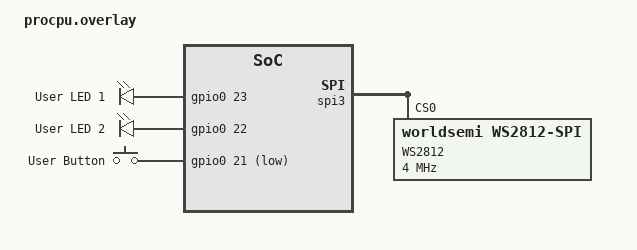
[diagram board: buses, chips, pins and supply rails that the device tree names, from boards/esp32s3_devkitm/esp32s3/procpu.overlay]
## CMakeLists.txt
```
# SPDX-License-Identifier: Apache-2.0

cmake_minimum_required(VERSION 3.20.0)


# Add device tree overlay
if(EXISTS ${CMAKE_CURRENT_SOURCE_DIR}/boards/${BOARD}.overlay)
    set(DTC_OVERLAY_FILE ${CMAKE_CURRENT_SOURCE_DIR}/boards/${BOARD}.overlay)
endif()

# Find Zephyr package and initialize
find_package(Zephyr REQUIRED HINTS $ENV{ZEPHYR_BASE})

# Project definition
project(keyasoftbox VERSION 1.0.0)

# Source files
target_sources(app PRIVATE 
    src/led_control.c
    src/main.c
    src/mesh_network.c
    src/nvs_storage.c
    src/state_machine.c
    src/web_config.c
    ws2812/ws2812_driver.c
)

# Include directories
target_include_directories(app PRIVATE 
    include
    ${CMAKE_CURRENT_SOURCE_DIR}/src
    ${CMAKE_CURRENT_SOURCE_DIR}/ws2812
)

message(STATUS "DTS_ROOT is set to: ${DTS_ROOT}")
message(STATUS "Current source dir: ${CMAKE_CURRENT_SOURCE_DIR}")

# Compiler definitions
target_compile_definitions(app PRIVATE
    -DKEYASOFTBOX_VERSION_MAJOR=1
    -DKEYASOFTBOX_VERSION_MINOR=0
    -DKEYASOFTBOX_VERSION_PATCH=0
)

# Compiler options for optimization
if(CMAKE_BUILD_TYPE STREQUAL "Release")
    target_compile_options(app PRIVATE
        -Os  # Optimize for size
        -ffunction-sections
        -fdata-sections
    )
    
    target_link_options(app PRIVATE
        -Wl,--gc-sections
    )
endif()

# Add custom build timestamp
string(TIMESTAMP BUILD_TIMESTAMP "%Y-%m-%d %H:%M:%S UTC" UTC)
target_compile_definitions(app PRIVATE
    -DBUILD_TIMESTAMP="${BUILD_TIMESTAMP}"
)

# Generate version header if template exists
if(EXISTS ${CMAKE_CURRENT_SOURCE_DIR}/include/version.h.in)
    configure_file(
        ${CMAKE_CURRENT_SOURCE_DIR}/include/version.h.in
        ${CMAKE_CURRENT_BINARY_DIR}/include/version.h
        @ONLY
    )
    target_include_directories(app PRIVATE ${CMAKE_CURRENT_BINARY_DIR}/include)
endif()
```

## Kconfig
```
menu "KSB Configuration"

source "Kconfig.zephyr"

endmenu


# Kconfig configuration for custom WS2812B driver
config WS2812B_STRIP
    bool "Custom WS2812B LED Strip Driver"
    depends on LED_STRIP && SPI
    help
      Enable custom WS2812B LED strip driver with SPI backend.
      This driver provides better control and flexibility compared
      to the generic worldsemi driver.

config WS2812B_STRIP_INIT_PRIORITY
    int "WS2812B driver initialization priority"
    default 90
    help
      Initialization priority for WS2812B LED strip driver.
      Must be higher than SPI driver priority.

config WS2812B_MAX_PIXELS
    int "Maximum number of pixels per strip"
    default 256
    range 1 1024
    help
      Maximum number of pixels that can be controlled by a single
      WS2812B strip instance. This affects memory allocation.

config WS2812B_SPI_FREQUENCY
    int "Default SPI frequency for WS2812B timing"
    default 4000000
    range 1000000 10000000
    help
      Default SPI frequency in Hz for WS2812B timing generation.
      4MHz typically works well for most WS2812B strips.

config WS2812B_RESET_DELAY
    int "Default reset delay in microseconds"
    default 50
    range 10 1000
    help
      Default reset delay in microseconds between LED updates.
# WS2812B_STRIP
```

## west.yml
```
# west.yml - West workspace manifest
manifest: 
  projects:
    # Zephyr RTOS
    - name: zephyr
      url: https://github.com/zephyrproject-rtos/zephyr
      revision: v4.2-branch
      west-commands: scripts/west-commands.yml
      import: true
      
  self:
    path: keya-soft-box
```

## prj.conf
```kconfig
CONFIG_WS2812B_STRIP=y
CONFIG_WS2812B_STRIP_INIT_PRIORITY=90
CONFIG_WS2812B_MAX_PIXELS=256
CONFIG_WS2812B_SPI_FREQUENCY=4000000
CONFIG_WS2812B_RESET_DELAY=50
CONFIG_SPI=y
CONFIG_GPIO=y
CONFIG_LOG=y
CONFIG_LOG_DEFAULT_LEVEL=3
CONFIG_LOG_BACKEND_UART=y
CONFIG_CBPRINTF_NANO=y
CONFIG_MAIN_STACK_SIZE=2048
CONFIG_SYSTEM_WORKQUEUE_STACK_SIZE=2048
CONFIG_HEAP_MEM_POOL_SIZE=45056
CONFIG_BOOTLOADER_MCUBOOT=y
CONFIG_NVS=y
CONFIG_LED_STRIP=y
CONFIG_LED_STRIP_LOG_LEVEL_DBG=y
CONFIG_LOG_MODE_IMMEDIATE=y
CONFIG_ESP32_SPIM=y
CONFIG_FLASH=y
CONFIG_FLASH_MAP=y
CONFIG_SETTINGS=y
CONFIG_SETTINGS_NVS=y
CONFIG_FLASH_PAGE_LAYOUT=y
CONFIG_POSIX_API=y

# Networking
CONFIG_NETWORKING=y
CONFIG_WIFI=y
CONFIG_NET_MGMT=y
CONFIG_NET_MGMT_EVENT=y
CONFIG_NET_IPV4=y
CONFIG_NET_UDP=y
CONFIG_NET_TCP=y
CONFIG_NET_SOCKETS=y

# Random
CONFIG_ENTROPY_GENERATOR=y
CONFIG_TIMER_RANDOM_GENERATOR=y
CONFIG_TEST_RANDOM_GENERATOR=y
```

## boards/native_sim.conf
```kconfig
CONFIG_UART_NATIVE_POSIX_PORT_1_ENABLE=y
CONFIG_NATIVE_UART_0_ON_STDINOUT=y
CONFIG_UART_NATIVE_POSIX=y
CONFIG_FLASH_SIMULATOR=y
CONFIG_ENTROPY_GENERATOR=y
CONFIG_TEST_RANDOM_GENERATOR=y
```

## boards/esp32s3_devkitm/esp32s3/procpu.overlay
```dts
#include <zephyr/dt-bindings/led/led.h>
#include <zephyr/dt-bindings/gpio/gpio.h>

/ {
    chosen {
        zephyr,console = &uart0;
        zephyr,shell-uart = &uart0;
    };

    aliases {
        ledstrip = &led_strip;
        sw0 = &button0;
        led0 = &user_led1;
        led1 = &user_led2;
    };

    leds {
        compatible = "gpio-leds";
        status = "okay";
        
        user_led1: led_0 {
            gpios = <&gpio0 23 GPIO_ACTIVE_HIGH>;
            label = "User LED 1";
        };
        
        user_led2: led_1 {
            gpios = <&gpio0 22 GPIO_ACTIVE_HIGH>;
            label = "User LED 2";
        };
    };

    buttons {
        compatible = "gpio-keys";
        status = "okay";
        
        button0: button_0 {
            gpios = <&gpio0 21 (GPIO_PULL_UP | GPIO_ACTIVE_LOW)>;
            label = "User Button";
        };
    };
};

&pinctrl {
    spi3_default: spi3_default {
        group1 {
            pinmux = <19>;
        };
    };
    
    spi3_sleep: spi3_sleep {
        group1 {
            pinmux = <19>;
            input-enable;
            bias-pull-up;
        };
    };
};

&spi3 {
    status = "okay";
    
    pinctrl-0 = <&spi3_default>;
    pinctrl-1 = <&spi3_sleep>;
    pinctrl-names = "default", "sleep";

    led_strip: ws2812@0 {
        compatible = "worldsemi,ws2812-spi";
        label = "WS2812";
        reg = <0>;
        spi-max-frequency = <4000000>;

        spi-one-frame = <0x70>;
        spi-zero-frame = <0x40>;
        
        chain-length = <8>;
        color-mapping = <LED_COLOR_ID_GREEN LED_COLOR_ID_RED LED_COLOR_ID_BLUE>;
        reset-delay = <280>;
    };
};

/* Delete existing storage partition if it exists */
/delete-node/ &storage_partition;

/* Modify the existing flash partitions to add our storage partition */
&flash0 {
    partitions {
        /* Add storage partition at the end of flash */
        storage_partition: partition@3F0000 {
            label = "storage";
            reg = <0x003F0000 0x6000>;  /* 24KB for NVS at near end of 4MB flash */
        };
    };
};
```

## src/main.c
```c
#include <zephyr/kernel.h>
#include <zephyr/device.h>
#include <zephyr/drivers/gpio.h>
#include <zephyr/logging/log.h>
#include <zephyr/random/random.h>

#include "ksb_common.h"
#include "state_machine.h"
#include "nvs_storage.h"
#include "../ws2812/ws2812_driver.h"

LOG_MODULE_REGISTER(main, CONFIG_LOG_DEFAULT_LEVEL);

// Global system context
struct ksb_context g_ksb_ctx = {
    .current_state = KSB_STATE_SYSTEM_INIT,
    .system_running = true};

// Hardware devices
static const struct device *button_dev;
static const struct device *status_red_dev;
static const struct device *status_green_dev;
static const struct device *gpio_dev;
static struct gpio_callback button_cb_data;

// Button handler
static void button_pressed(const struct device *dev, struct gpio_callback *cb, uint32_t pins)
{
    LOG_INF("User button pressed");
    // Cycle through LED patterns in operational mode
    if (g_ksb_ctx.current_state == KSB_STATE_OPERATIONAL)
    {
        led_control_next_pattern();
    }
}

// Status LED control
static void set_status_leds(bool red, bool green)
{
    if (gpio_dev)
    {
        gpio_pin_set(gpio_dev, 23, red ? 1 : 0);   // user_led1
        gpio_pin_set(gpio_dev, 22, green ? 1 : 0); // user_led2
    }
}

// Status LED thread
static void status_led_thread(void)
{
    while (g_ksb_ctx.system_running)
    {
        switch (g_ksb_ctx.current_state)
        {
        case KSB_STATE_SYSTEM_INIT:
            // Fast red blink during init
            set_status_leds(true, false);
            k_msleep(100);
            set_status_leds(false, false);
            k_msleep(100);
            break;

        case KSB_STATE_CONFIG_MODE:
            // Alternating red/green in config mode
            set_status_leds(true, false);
            k_msleep(500);
            set_status_leds(false, true);
            k_msleep(500);
            break;

        case KSB_STATE_NETWORK_SCAN:
        case KSB_STATE_MESH_CLIENT:
        case KSB_STATE_MESH_MASTER:
            // Slow green blink during connection
            set_status_leds(false, true);
            k_msleep(250);
            set_status_leds(false, false);
            k_msleep(1750);
            break;

        case KSB_STATE_OPERATIONAL:
            // Solid green when operational
            set_status_leds(false, true);
            k_msleep(1000);
            break;

        case KSB_STATE_CONNECTION_LOST:
        case KSB_STATE_ERROR_RECOVERY:
            // Fast red blink on error
            set_status_leds(true, false);
            k_msleep(200);
            set_status_leds(false, false);
            k_msleep(200);
            break;

        default:
            set_status_leds(false, false);
            k_msleep(1000);
            break;
        }
    }
}

K_THREAD_DEFINE(status_led_tid, 1024, status_led_thread, NULL, NULL, NULL, 7, 0, 0);

// Hardware initialization
static int init_hardware(void)
{
    int ret;

    // Get GPIO device for button and LEDs
    gpio_dev = DEVICE_DT_GET(DT_NODELABEL(gpio0));
    if (!device_is_ready(gpio_dev))
    {
        LOG_ERR("GPIO device not ready");
        return -ENODEV;
    }

    // Configure button pin
    ret = gpio_pin_configure(gpio_dev, 21, GPIO_INPUT | GPIO_PULL_UP);
    if (ret != 0)
    {
        LOG_ERR("Failed to configure button pin");
        return ret;
    }

    ret = gpio_pin_interrupt_configure(gpio_dev, 21, GPIO_INT_EDGE_TO_ACTIVE);
    if (ret != 0)
    {
        LOG_ERR("Failed to configure button interrupt");
        return ret;
    }

    gpio_init_callback(&button_cb_data, button_pressed, BIT(21));
    gpio_add_callback(gpio_dev, &button_cb_data);

    // Configure status LED pins
    ret = gpio_pin_configure(gpio_dev, 23, GPIO_OUTPUT_INACTIVE); // user_led1
    if (ret != 0)
    {
        LOG_ERR("Failed to configure red LED pin");
        return ret;
    }
    ret = gpio_pin_configure(gpio_dev, 22, GPIO_OUTPUT_INACTIVE); // user_led2
    if (ret != 0)
    {
        LOG_ERR("Failed to configure green LED pin");
        return ret;
    }

    LOG_INF("Hardware initialized successfully");
    return 0;
}

int main(void)
{
    int ret;

    LOG_INF("KSB v%s starting...", KSB_VERSION_STRING);
    LOG_INF("Build: %s %s", KSB_BUILD_DATE, KSB_BUILD_TIME);

    // Initialize semaphores
    k_sem_init(&g_ksb_ctx.state_lock, 1, 1);

    // Initialize NVS storage
    ret = nvs_storage_init();
    if (ret != 0)
    {
        LOG_ERR("Failed to initialize NVS storage: %d", ret);
        return ret;
    }

    // Load configuration
    ret = nvs_storage_load_config(&g_ksb_ctx.config);
    if (ret != 0)
    {
        LOG_WRN("No valid configuration found, using defaults");
        memset(&g_ksb_ctx.config, 0, sizeof(g_ksb_ctx.config));
        g_ksb_ctx.config.is_configured = false;
        g_ksb_ctx.config.device_id = sys_rand32_get() & 0xFF;
    }

    // Initialize hardware
    ret = init_hardware();
    if (ret != 0)
    {
        LOG_ERR("Hardware initialization failed: %d", ret);
        return ret;
    }

    // Initialize LED control
    ret = led_control_init();
    if (ret != 0)
    {
        LOG_ERR("LED control initialization failed: %d", ret);
        return ret;
    }

    // Show startup pattern
    struct led_rgb startup_color = {50, 0, 50}; // Purple
    led_control_set_pattern(KSB_PATTERN_SOLID, startup_color, 255, 0);
    k_msleep(1000);
    led_control_set_pattern(KSB_PATTERN_OFF, (struct led_rgb){0, 0, 0}, 0, 0);

    // Initialize state machine
    ret = state_machine_init();
    if (ret != 0)
    {
        LOG_ERR("State machine initialization failed: %d", ret);
        return ret;
    }

    LOG_INF("KSB initialization complete");

    // Start state machine
    state_machine_start();

    return 0;
}
```

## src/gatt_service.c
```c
#include <zephyr/kernel.h>
#include <zephyr/bluetooth/bluetooth.h>
#include <zephyr/bluetooth/gatt.h>
#include <zephyr/bluetooth/uuid.h>
#include <zephyr/logging/log.h>
#include <zephyr/sys/util.h>
#include <stdio.h>
#include <stdlib.h>
#include <string.h>
#include "keyasoftbox.h"

LOG_MODULE_REGISTER(gatt_service, LOG_LEVEL_INF);

/* External references */
extern struct keyasoftbox_state device_state;

/* Service and Characteristic UUIDs */
static struct bt_uuid_128 keyasoftbox_service_uuid = BT_UUID_INIT_128(KEYASOFTBOX_SERVICE_UUID);
static struct bt_uuid_128 led_control_char_uuid = BT_UUID_INIT_128(LED_CONTROL_CHAR_UUID);
static struct bt_uuid_128 led_status_char_uuid = BT_UUID_INIT_128(LED_STATUS_CHAR_UUID);
static struct bt_uuid_128 mesh_control_char_uuid = BT_UUID_INIT_128(MESH_CONTROL_CHAR_UUID);
static struct bt_uuid_128 device_info_char_uuid = BT_UUID_INIT_128(DEVICE_INFO_CHAR_UUID);

/* Notification enabled flags */
static bool led_status_notify_enabled = false;

/* JSON parsing helper functions */
static int find_json_value(const char *json, const char *key, char *value, size_t value_size)
{
    char search_key[64];
    snprintf(search_key, sizeof(search_key), "\"%s\":", key);
    
    const char *key_pos = strstr(json, search_key);
    if (!key_pos) {
        return -1;
    }
    
    const char *value_start = key_pos + strlen(search_key);
    
    /* Skip whitespace */
    while (*value_start == ' ' || *value_start == '\t') {
        value_start++;
    }
    
    /* Handle different value types */
    if (*value_start == '"') {
        /* String value */
        value_start++;
        const char *value_end = strchr(value_start, '"');
        if (!value_end) return -1;
        
        size_t len = MIN(value_end - value_start, value_size - 1);
        strncpy(value, value_start, len);
        value[len] = '\0';
    } else {
        /* Numeric or boolean value */
        const char *value_end = value_start;
        while (*value_end && *value_end != ',' && *value_end != '}' && *value_end != ' ') {
            value_end++;
        }
        
        size_t len = MIN(value_end - value_start, value_size - 1);
        strncpy(value, value_start, len);
        value[len] = '\0';
    }
    
    return 0;
}

static bool json_value_is_true(const char *value)
{
    return (strcmp(value, "true") == 0) || (strcmp(value, "1") == 0);
}

/* GATT Characteristic Read/Write Handlers */
static ssize_t read_device_info(struct bt_conn *conn, const struct bt_gatt_attr *attr,
                               void *buf, uint16_t len, uint16_t offset)
{
    char info[256];
    snprintf(info, sizeof(info),
             "{"
             "\"device\":\"KeyaSoftBox\","
             "\"version\":\"1.0.0\","
             "\"mesh_addr\":\"0x%04x\","
             "\"provisioned\":%s,"
             "\"pixels\":%d,"
             "\"effects\":%d"
             "}",
             device_state.mesh_addr,
             device_state.mesh_provisioned ? "true" : "false",
             NUM_PIXELS,
             EFFECT_MAX);
    
    return bt_gatt_attr_read(conn, attr, buf, len, offset, info, strlen(info));
}

static ssize_t read_led_status(struct bt_conn *conn, const struct bt_gatt_attr *attr,
                              void *buf, uint16_t len, uint16_t offset)
{
    char status[512];
    snprintf(status, sizeof(status),
             "{"
             "\"power\":%s,"
             "\"brightness\":%d,"
             "\"color\":{"
             "\"r\":%d,\"g\":%d,\"b\":%d"
             "},"
             "\"auto_mode\":%s,"
             "\"effect\":%d,"
             "\"speed\":%u,"
             "\"current_pixels\":["
             "{\"r\":%d,\"g\":%d,\"b\":%d},"
             "{\"r\":%d,\"g\":%d,\"b\":%d},"
             "{\"r\":%d,\"g\":%d,\"b\":%d},"
             "{\"r\":%d,\"g\":%d,\"b\":%d}"
             "]"
             "}",
             device_state.power_on ? "true" : "false",
             device_state.brightness,
             device_state.static_color.r, device_state.static_color.g, device_state.static_color.b,
             device_state.auto_mode ? "true" : "false",
             device_state.animation_type,
             device_state.animation_speed,
             /* First 4 pixels current state */
             device_state.pixels[0].r, device_state.pixels[0].g, device_state.pixels[0].b,
             device_state.pixels[1].r, device_state.pixels[1].g, device_state.pixels[1].b,
             device_state.pixels[2].r, device_state.pixels[2].g, device_state.pixels[2].b,
             device_state.pixels[3].r, device_state.pixels[3].g, device_state.pixels[3].b);
    
    return bt_gatt_attr_read(conn, attr, buf, len, offset, status, strlen(status));
}

static ssize_t write_led_control(struct bt_conn *conn, const struct bt_gatt_attr *attr,
                                const void *buf, uint16_t len, uint16_t offset,
                                uint8_t flags)
{
    if (len == 0 || len > 512) {
        return BT_GATT_ERR(BT_ATT_ERR_INVALID_ATTRIBUTE_LEN);
    }
    
    char json_cmd[513];
    memcpy(json_cmd, buf, len);
    json_cmd[len] = '\0';
    
    LOG_INF("LED Control command: %s", json_cmd);
    
    parse_led_control_json(json_cmd, len);
    
    return len;
}

static ssize_t write_mesh_control(struct bt_conn *conn, const struct bt_gatt_attr *attr,
                                 const void *buf, uint16_t len, uint16_t offset,
                                 uint8_t flags)
{
    if (len == 0 || len > 512) {
        return BT_GATT_ERR(BT_ATT_ERR_INVALID_ATTRIBUTE_LEN);
    }
    
    char json_cmd[513];
    memcpy(json_cmd, buf, len);
    json_cmd[len] = '\0';
    
    LOG_INF("Mesh Control command: %s", json_cmd);
    
    parse_mesh_control_json(json_cmd, len);
    
    return len;
}

/* CCC (Client Characteristic Configuration) callback for notifications */
static void led_status_ccc_cfg_changed(const struct bt_gatt_attr *attr, uint16_t value)
{
    led_status_notify_enabled = (value == BT_GATT_CCC_NOTIFY);
    LOG_INF("LED Status notifications %s", led_status_notify_enabled ? "enabled" : "disabled");
}

/* GATT Service Definition */
BT_GATT_SERVICE_DEFINE(keyasoftbox_svc,
    BT_GATT_PRIMARY_SERVICE(&keyasoftbox_service_uuid),
    
    /* LED Control Characteristic */
    BT_GATT_CHARACTERISTIC(&led_control_char_uuid.uuid,
                          BT_GATT_CHRC_WRITE | BT_GATT_CHRC_WRITE_WITHOUT_RESP,
                          BT_GATT_PERM_WRITE, NULL, write_led_control, NULL),
    
    /* LED Status Characteristic */
    BT_GATT_CHARACTERISTIC(&led_status_char_uuid.uuid,
                          BT_GATT_CHRC_READ | BT_GATT_CHRC_NOTIFY,
                          BT_GATT_PERM_READ, read_led_status, NULL, NULL),
    BT_GATT_CCC(led_status_ccc_cfg_changed, BT_GATT_PERM_READ | BT_GATT_PERM_WRITE),
    
    /* Mesh Control Characteristic */
    BT_GATT_CHARACTERISTIC(&mesh_control_char_uuid.uuid,
                          BT_GATT_CHRC_WRITE | BT_GATT_CHRC_WRITE_WITHOUT_RESP,
                          BT_GATT_PERM_WRITE, NULL, write_mesh_control, NULL),
    
    /* Device Info Characteristic */
    BT_GATT_CHARACTERISTIC(&device_info_char_uuid.uuid,
                          BT_GATT_CHRC_READ,
                          BT_GATT_PERM_READ, read_device_info, NULL, NULL),
);

/* JSON Command Parsing Functions */
void parse_led_control_json(const char *json_data, uint16_t len)
{
    char value[32];
    bool state_changed = false;
    
    /* Parse power */
    if (find_json_value(json_data, "power", value, sizeof(value)) == 0) {
        bool new_power = json_value_is_true(value);
        if (new_power != device_state.power_on) {
            device_state.power_on = new_power;
            state_changed = true;
        }
    }
    
    /* Parse brightness */
    if (find_json_value(json_data, "brightness", value, sizeof(value)) == 0) {
        uint8_t new_brightness = atoi(value);
        if (new_brightness != device_state.brightness) {
            device_state.brightness = new_brightness;
            state_changed = true;
        }
    }
    
    /* Parse color */
    bool color_changed = false;
    if (find_json_value(json_data, "r", value, sizeof(value)) == 0) {
        device_state.static_color.r = atoi(value);
        color_changed = true;
    }
    if (find_json_value(json_data, "g", value, sizeof(value)) == 0) {
        device_state.static_color.g = atoi(value);
        color_changed = true;
    }
    if (find_json_value(json_data, "b", value, sizeof(value)) == 0) {
        device_state.static_color.b = atoi(value);
        color_changed = true;
    }
    
    /* Parse auto mode */
    if (find_json_value(json_data, "auto_mode", value, sizeof(value)) == 0) {
        bool new_auto = json_value_is_true(value);
        if (new_auto != device_state.auto_mode) {
            device_state.auto_mode = new_auto;
            state_changed = true;
        }
    }
    
    /* Parse effect type */
    if (find_json_value(json_data, "effect", value, sizeof(value)) == 0) {
        uint8_t new_effect = atoi(value);
        if (new_effect < EFFECT_MAX && new_effect != device_state.animation_type) {
            device_state.animation_type = new_effect;
            state_changed = true;
        }
    }
    
    /* Parse speed */
    if (find_json_value(json_data, "speed", value, sizeof(value)) == 0) {
        uint32_t new_speed = atoi(value);
        if (new_speed != device_state.animation_speed) {
            device_state.animation_speed = new_speed;
            state_changed = true;
        }
    }
    
    /* Apply changes */
    if (color_changed || state_changed) {
        if (device_state.auto_mode) {
            /* Start animation */
            reset_animation_state();
            k_work_reschedule(&animation_work, K_MSEC(100));
        } else {
            /* Set static color */
            k_work_cancel_delayable(&animation_work);
            if (device_state.power_on) {
                set_all_pixels(device_state.static_color.r, 
                              device_state.static_color.g, 
                              device_state.static_color.b);
            } else {
                clear_all_pixels();
            }
            update_led_strip();
        }
        
        /* Notify status change */
        notify_led_status_change();
    }
}

void parse_mesh_control_json(const char *json_data, uint16_t len)
{
    char value[32];
    
    /* Parse the command and forward to mesh */
    bool send_mesh_cmd = false;
    uint8_t power = device_state.power_on ? 1 : 0;
    uint8_t brightness = device_state.brightness;
    uint8_t r = device_state.static_color.r;
    uint8_t g = device_state.static_color.g;
    uint8_t b = device_state.static_color.b;
    
    if (find_json_value(json_data, "power", value, sizeof(value)) == 0) {
        power = json_value_is_true(value) ? 1 : 0;
        send_mesh_cmd = true;
    }
    
    if (find_json_value(json_data, "brightness", value, sizeof(value)) == 0) {
        brightness = atoi(value);
        send_mesh_cmd = true;
    }
    
    if (find_json_value(json_data, "r", value, sizeof(value)) == 0) {
        r = atoi(value);
        send_mesh_cmd = true;
    }
    
    if (find_json_value(json_data, "g", value, sizeof(value)) == 0) {
        g = atoi(value);
        send_mesh_cmd = true;
    }
    
    if (find_json_value(json_data, "b", value, sizeof(value)) == 0) {
        b = atoi(value);
        send_mesh_cmd = true;
    }
    
    /* Check for effect command */
    if (find_json_value(json_data, "effect", value, sizeof(value)) == 0) {
        uint8_t effect_type = atoi(value);
        uint32_t speed = 1000; /* Default speed */
        
        if (find_json_value(json_data, "speed", value, sizeof(value)) == 0) {
            speed = atoi(value);
        }
        
        mesh_send_effect_command(effect_type, speed);
        return;
    }
    
    if (send_mesh_cmd) {
        mesh_send_led_command(power, brightness, r, g, b);
    }
}

/* Notification function */
void notify_led_status_change(void)
{
    if (!led_status_notify_enabled) {
        return;
    }
    
    /* Get the LED status characteristic attribute */
    const struct bt_gatt_attr *attr = &keyasoftbox_svc.attrs[3]; /* LED Status characteristic */
    
    /* Prepare status data */
    char status[256];
    snprintf(status, sizeof(status),
             "{"
             "\"power\":%s,"
             "\"brightness\":%d,"
             "\"r\":%d,\"g\":%d,\"b\":%d,"
             "\"auto_mode\":%s,"
             "\"effect\":%d"
             "}",
             device_state.power_on ? "true" : "false",
             device_state.brightness,
             device_state.static_color.r, device_state.static_color.g, device_state.static_color.b,
             device_state.auto_mode ? "true" : "false",
             device_state.animation_type);
    
    /* Send notification */
    int err = bt_gatt_notify(NULL, attr, status, strlen(status));
    if (err) {
        LOG_WRN("Failed to send notification: %d", err);
    }
}

/* GATT Service Initialization */
int gatt_service_init(void)
{
    LOG_INF("KeyaSoftBox GATT service initialized");
    return 0;
}
```

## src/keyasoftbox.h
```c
#ifndef KEYASOFTBOX_H
#define KEYASOFTBOX_H

#include <zephyr/kernel.h>
#include <zephyr/drivers/led_strip.h>
#include <zephyr/bluetooth/mesh.h>
#include <stdint.h>
#include <stdbool.h>

/* Device Configuration */
#define NUM_PIXELS 8
#define DEVICE_NAME "KeyaSoftBox"

/* Custom Mesh Model ID */
#define BT_MESH_MODEL_ID_KEYA_SOFTBOX 0x8001

/* LED Effect Types */
enum led_effect_type {
    EFFECT_STATIC = 0,
    EFFECT_RAINBOW_CYCLE = 1,
    EFFECT_BREATHING = 2,
    EFFECT_COLOR_WIPE = 3,
    EFFECT_RAINBOW_WAVE = 4,
    EFFECT_FIRE = 5,
    EFFECT_TWINKLE = 6,
    EFFECT_CHASE = 7,
    EFFECT_PULSE_COLORS = 8,
    EFFECT_MAX
};

/* Device State Structure */
struct keyasoftbox_state {
    bool mesh_provisioned;
    uint16_t mesh_addr;
    uint16_t net_idx;
    uint16_t app_idx;
    struct led_rgb pixels[NUM_PIXELS];
    uint8_t brightness;
    bool auto_mode;
    uint8_t animation_type;
    uint32_t animation_speed;
    bool power_on;
    struct led_rgb static_color;
};

/* Custom Mesh Opcodes */
#define KEYASOFTBOX_LED_SET_OP BT_MESH_MODEL_OP_3(0x80, 0x01, 0x00)
#define KEYASOFTBOX_LED_STATUS_OP BT_MESH_MODEL_OP_3(0x80, 0x01, 0x01)
#define KEYASOFTBOX_LED_GET_OP BT_MESH_MODEL_OP_3(0x80, 0x01, 0x02)

/* BLE Service UUIDs */
#define KEYASOFTBOX_SERVICE_UUID BT_UUID_128_ENCODE(0x6ba75d00, 0x3f4a, 0x4c8e, 0x8e1b, 0x123456789abc)
#define LED_CONTROL_CHAR_UUID BT_UUID_128_ENCODE(0x6ba75d01, 0x3f4a, 0x4c8e, 0x8e1b, 0x123456789abc)
#define LED_STATUS_CHAR_UUID BT_UUID_128_ENCODE(0x6ba75d02, 0x3f4a, 0x4c8e, 0x8e1b, 0x123456789abc)
#define MESH_CONTROL_CHAR_UUID BT_UUID_128_ENCODE(0x6ba75d03, 0x3f4a, 0x4c8e, 0x8e1b, 0x123456789abc)
#define DEVICE_INFO_CHAR_UUID BT_UUID_128_ENCODE(0x6ba75d04, 0x3f4a, 0x4c8e, 0x8e1b, 0x123456789abc)

/* Function Prototypes */

/* LED Effects Functions (led_effects.c) */
void run_led_effect(uint8_t effect_type);
void reset_animation_state(void);
void hsv_to_rgb(uint8_t h, uint8_t s, uint8_t v, struct led_rgb *rgb);
uint8_t scale8(uint8_t value, uint8_t scale);

/* Individual effect functions */
void effect_static_color(void);
void effect_rainbow_cycle(void);
void effect_breathing(void);
void effect_color_wipe(void);
void effect_rainbow_wave(void);
void effect_fire(void);
void effect_twinkle(void);
void effect_chase(void);
void effect_pulse_colors(void);

/* Mesh Handler Functions (mesh_handler.c) */
int mesh_init_keyasoftbox(void);
void mesh_send_led_command(uint8_t power, uint8_t brightness, uint8_t r, uint8_t g, uint8_t b);
void mesh_send_effect_command(uint8_t effect_type, uint32_t speed);

/* GATT Service Functions (gatt_service.c) */
int gatt_service_init(void);
void notify_led_status_change(void);
void parse_led_control_json(const char *json_data, uint16_t len);
void parse_mesh_control_json(const char *json_data, uint16_t len);

/* Utility Functions */
void update_led_strip(void);
void set_pixel_color(int pixel, uint8_t r, uint8_t g, uint8_t b);
void set_all_pixels(uint8_t r, uint8_t g, uint8_t b);
void clear_all_pixels(void);

/* Global Variables (defined in main.c) */
extern struct keyasoftbox_state device_state;
extern const struct device *const strip;
extern struct k_work_delayable animation_work;

/* Macros */
#define MIN(a, b) ((a) < (b) ? (a) : (b))
#define MAX(a, b) ((a) > (b) ? (a) : (b))
#define ARRAY_SIZE(arr) (sizeof(arr) / sizeof(arr[0]))

#endif /* KEYASOFTBOX_H */
```

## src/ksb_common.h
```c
#ifndef KSB_COMMON_H
#define KSB_COMMON_H

#include <zephyr/kernel.h>
#include <zephyr/device.h>
#include <zephyr/logging/log.h>
#include <zephyr/drivers/led_strip.h>
#include "version.h"

// System configuration
#define KSB_MAX_NETWORK_NAME_LEN 32
#define KSB_MAX_MESH_NODES 8
#define KSB_LED_COUNT 8
#define KSB_LED_UPDATE_RATE_MS 33

// Network configuration
#define KSB_AP_SSID_PREFIX "KSB_Setup_"
#define KSB_AP_PASSWORD "keya1234"
#define KSB_WEB_PORT 80
#define KSB_MESH_PORT 8080

// Hardware pins
#define KSB_USER_BUTTON_PIN 0
#define KSB_STATUS_LED_RED_PIN 2
#define KSB_STATUS_LED_GREEN_PIN 3

// System states
enum ksb_system_state
{
    KSB_STATE_SYSTEM_INIT,
    KSB_STATE_CONFIG_MODE,
    KSB_STATE_NETWORK_SCAN,
    KSB_STATE_MESH_CLIENT,
    KSB_STATE_MESH_MASTER,
    KSB_STATE_OPERATIONAL,
    KSB_STATE_CONNECTION_LOST,
    KSB_STATE_ERROR_RECOVERY
};

// LED patterns
enum ksb_led_pattern
{
    KSB_PATTERN_OFF,
    KSB_PATTERN_SOLID,
    KSB_PATTERN_BREATHING,
    KSB_PATTERN_RUNNING_LIGHT,
    KSB_PATTERN_RAINBOW,
    KSB_PATTERN_SPARKLE,
    KSB_PATTERN_WAVE,
    KSB_PATTERN_COUNT
};

// LED command structure for mesh communication
struct ksb_led_command
{
    enum ksb_led_pattern pattern;
    struct led_rgb color;
    uint32_t speed;
    uint32_t brightness;
    uint32_t frame;
} __packed;

// Network configuration
struct ksb_network_config
{
    char network_name[KSB_MAX_NETWORK_NAME_LEN];
    bool is_configured;
    uint8_t device_id;
} __packed;

// Global system context
struct ksb_context
{
    enum ksb_system_state current_state;
    struct ksb_network_config config;
    struct k_sem state_lock;
    bool system_running;
};

extern struct ksb_context g_ksb_ctx;

#endif // KSB_COMMON_H
```

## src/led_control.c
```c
#include <zephyr/kernel.h>
#include <zephyr/logging/log.h>
#include <zephyr/random/random.h>

#include <math.h>
#include "ksb_common.h"
#include "led_control.h"
#include "mesh_network.h"
#include "../ws2812/ws2812_driver.h"

LOG_MODULE_REGISTER(led_control, CONFIG_LOG_DEFAULT_LEVEL);

static struct led_control_context
{
    struct ws2812_driver ws_driver;
    enum ksb_led_pattern current_pattern;
    struct led_rgb current_color;
    uint32_t current_brightness;
    uint32_t current_speed;
    uint32_t frame_counter;
    bool running;
    struct k_thread led_thread;
    K_KERNEL_STACK_MEMBER(led_stack, 2048);
} led_ctx;

// Pattern implementations
static void pattern_off(struct led_rgb *leds, uint32_t frame)
{
    struct led_rgb black = {0, 0, 0};
    for (int i = 0; i < KSB_LED_COUNT; i++)
    {
        leds[i] = black;
    }
}

static void pattern_solid(struct led_rgb *leds, uint32_t frame)
{
    for (int i = 0; i < KSB_LED_COUNT; i++)
    {
        leds[i] = led_ctx.current_color;
    }
}

static void pattern_breathing(struct led_rgb *leds, uint32_t frame)
{
    // Sine wave breathing effect
    float breath = (sin((frame * led_ctx.current_speed) / 1000.0f) + 1.0f) / 2.0f;
    uint8_t brightness = (uint8_t)(breath * led_ctx.current_brightness);

    struct led_rgb color = {
        (led_ctx.current_color.r * brightness) / 255,
        (led_ctx.current_color.g * brightness) / 255,
        (led_ctx.current_color.b * brightness) / 255};

    for (int i = 0; i < KSB_LED_COUNT; i++)
    {
        leds[i] = color;
    }
}

static void pattern_running_light(struct led_rgb *leds, uint32_t frame)
{
    // Clear all LEDs
    struct led_rgb black = {0, 0, 0};
    for (int i = 0; i < KSB_LED_COUNT; i++)
    {
        leds[i] = black;
    }

    // Calculate position
    int pos = (frame * led_ctx.current_speed / 100) % KSB_LED_COUNT;
    leds[pos] = led_ctx.current_color;

    // Add trail
    int trail_pos = (pos - 1 + KSB_LED_COUNT) % KSB_LED_COUNT;
    leds[trail_pos] = (struct led_rgb){
        led_ctx.current_color.r / 3,
        led_ctx.current_color.g / 3,
        led_ctx.current_color.b / 3};
}

static void pattern_rainbow(struct led_rgb *leds, uint32_t frame)
{
    for (int i = 0; i < KSB_LED_COUNT; i++)
    {
        float hue = ((frame * led_ctx.current_speed / 10) + (i * 360 / KSB_LED_COUNT)) % 360;

        // Simple HSV to RGB conversion
        float c = (float)led_ctx.current_brightness / 255.0f;
        float x = c * (1 - fabs(fmod(hue / 60.0f, 2) - 1));
        float m = 0;

        float r, g, b;
        if (hue < 60)
        {
            r = c;
            g = x;
            b = 0;
        }
        else if (hue < 120)
        {
            r = x;
            g = c;
            b = 0;
        }
        else if (hue < 180)
        {
            r = 0;
            g = c;
            b = x;
        }
        else if (hue < 240)
        {
            r = 0;
            g = x;
            b = c;
        }
        else if (hue < 300)
        {
            r = x;
            g = 0;
            b = c;
        }
        else
        {
            r = c;
            g = 0;
            b = x;
        }

        leds[i] = (struct led_rgb){
            (uint8_t)((r + m) * 255),
            (uint8_t)((g + m) * 255),
            (uint8_t)((b + m) * 255)};
    }
}

static void pattern_sparkle(struct led_rgb *leds, uint32_t frame)
{
    // Start with dim background
    struct led_rgb dim_color = {
        led_ctx.current_color.r / 10,
        led_ctx.current_color.g / 10,
        led_ctx.current_color.b / 10};

    for (int i = 0; i < KSB_LED_COUNT; i++)
    {
        leds[i] = dim_color;
    }

    // Add random sparkles
    if ((frame % (200 - led_ctx.current_speed)) == 0)
    {
        int sparkle_pos = sys_rand32_get() % KSB_LED_COUNT;
        leds[sparkle_pos] = led_ctx.current_color;
    }
}

static void pattern_wave(struct led_rgb *leds, uint32_t frame)
{
    for (int i = 0; i < KSB_LED_COUNT; i++)
    {
        float wave = sin((frame * led_ctx.current_speed / 100.0f) + (i * 3.14159f / KSB_LED_COUNT));
        wave = (wave + 1.0f) / 2.0f; // Normalize to 0-1

        uint8_t brightness = (uint8_t)(wave * led_ctx.current_brightness);

        leds[i] = (struct led_rgb){
            (led_ctx.current_color.r * brightness) / 255,
            (led_ctx.current_color.g * brightness) / 255,
            (led_ctx.current_color.b * brightness) / 255};
    }
}

// LED control thread
static void led_control_thread(void *arg1, void *arg2, void *arg3)
{
    struct led_rgb leds[KSB_LED_COUNT];

    while (led_ctx.running)
    {
        // Apply brightness scaling
        uint8_t brightness_scale = led_ctx.current_brightness;

        // Generate pattern
        switch (led_ctx.current_pattern)
        {
        case KSB_PATTERN_OFF:
            pattern_off(leds, led_ctx.frame_counter);
            break;
        case KSB_PATTERN_SOLID:
            pattern_solid(leds, led_ctx.frame_counter);
            break;
        case KSB_PATTERN_BREATHING:
            pattern_breathing(leds, led_ctx.frame_counter);
            break;
        case KSB_PATTERN_RUNNING_LIGHT:
            pattern_running_light(leds, led_ctx.frame_counter);
            break;
        case KSB_PATTERN_RAINBOW:
            pattern_rainbow(leds, led_ctx.frame_counter);
            break;
        case KSB_PATTERN_SPARKLE:
            pattern_sparkle(leds, led_ctx.frame_counter);
            break;
        case KSB_PATTERN_WAVE:
            pattern_wave(leds, led_ctx.frame_counter);
            break;
        default:
            pattern_off(leds, led_ctx.frame_counter);
            break;
        }

        // Apply global brightness scaling (except for breathing which handles its own)
        if (led_ctx.current_pattern != KSB_PATTERN_BREATHING)
        {
            for (int i = 0; i < KSB_LED_COUNT; i++)
            {
                leds[i].r = (leds[i].r * brightness_scale) / 255;
                leds[i].g = (leds[i].g * brightness_scale) / 255;
                leds[i].b = (leds[i].b * brightness_scale) / 255;
            }
        }

        // Update physical LEDs
        for (int i = 0; i < KSB_LED_COUNT; i++)
        {
            led_ctx.ws_driver.pixels[i] = leds[i];
        }
        led_strip_update_rgb(led_ctx.ws_driver.dev, led_ctx.ws_driver.pixels, KSB_LED_COUNT);

        led_ctx.frame_counter++;
        k_msleep(KSB_LED_UPDATE_RATE_MS);
    }
}

int led_control_init(void)
{
    int ret;

    // Initialize WS2812 driver
    ret = ws2812_init(&led_ctx.ws_driver, "WS2812");
    if (ret != 0)
    {
        LOG_ERR("Failed to initialize WS2812 driver: %d", ret);
        return ret;
    }

    // Set default pattern
    led_ctx.current_pattern = KSB_PATTERN_OFF;
    led_ctx.current_color = (struct led_rgb){100, 100, 100};
    led_ctx.current_brightness = 128;
    led_ctx.current_speed = 100;
    led_ctx.frame_counter = 0;
    led_ctx.running = true;

    // Start LED control thread
    k_thread_create(&led_ctx.led_thread, led_ctx.led_stack,
                    K_KERNEL_STACK_SIZEOF(led_ctx.led_stack),
                    led_control_thread, NULL, NULL, NULL,
                    7, 0, K_NO_WAIT);
    k_thread_name_set(&led_ctx.led_thread, "led_ctrl");

    LOG_INF("LED control initialized");
    return 0;
}

void led_control_set_pattern(enum ksb_led_pattern pattern, struct led_rgb color,
                             uint8_t brightness, uint32_t speed)
{
    led_ctx.current_pattern = pattern;
    led_ctx.current_color = color;
    led_ctx.current_brightness = brightness;
    led_ctx.current_speed = speed;
    led_ctx.frame_counter = 0;

    LOG_INF("LED pattern set: %d, color: (%d,%d,%d), brightness: %d, speed: %d",
            pattern, color.r, color.g, color.b, brightness, speed);
}

void led_control_next_pattern(void)
{
    enum ksb_led_pattern next = (led_ctx.current_pattern + 1) % KSB_PATTERN_COUNT;

    // Skip OFF pattern when cycling
    if (next == KSB_PATTERN_OFF)
    {
        next = KSB_PATTERN_SOLID;
    }

    struct led_rgb colors[] = {
        {255, 0, 0},    // Red
        {0, 255, 0},    // Green
        {0, 0, 255},    // Blue
        {255, 255, 0},  // Yellow
        {255, 0, 255},  // Magenta
        {0, 255, 255},  // Cyan
        {255, 255, 255} // White
    };

    struct led_rgb color = colors[sys_rand32_get() % ARRAY_SIZE(colors)];

    led_control_set_pattern(next, color, 128, 100);

    // Broadcast to mesh if connected
    if (mesh_network_is_connected())
    {
        struct ksb_led_command cmd = {
            .pattern = next,
            .color = color,
            .brightness = 128,
            .speed = 100,
            .frame = 0};
        mesh_broadcast_led_command(&cmd);
    }
}

enum ksb_led_pattern led_control_get_current_pattern(void)
{
    return led_ctx.current_pattern;
}
```

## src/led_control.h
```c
#ifndef LED_CONTROL_H
#define LED_CONTROL_H

#include "ksb_common.h"

/**
 * Initialize LED control subsystem
 * @return 0 on success, negative error code on failure
 */
int led_control_init(void);

/**
 * Set LED pattern with parameters
 * @param pattern LED pattern to set
 * @param color Base color for the pattern
 * @param brightness Overall brightness (0-255)
 * @param speed Pattern animation speed
 */
void led_control_set_pattern(enum ksb_led_pattern pattern, struct led_rgb color,
                             uint8_t brightness, uint32_t speed);

/**
 * Cycle to next LED pattern (for button control)
 */
void led_control_next_pattern(void);

/**
 * Get current LED pattern
 * @return Current pattern
 */
enum ksb_led_pattern led_control_get_current_pattern(void);

#endif // LED_CONTROL_H
```

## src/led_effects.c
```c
#include <zephyr/kernel.h>
#include <zephyr/drivers/led_strip.h>
#include <zephyr/logging/log.h>
#include <math.h>
#include "keyasoftbox.h"

LOG_MODULE_REGISTER(led_effects, LOG_LEVEL_INF);

/* External references */
extern const struct device *const strip;
extern struct keyasoftbox_state device_state;

/* Animation state */
static struct animation_state {
    uint32_t frame_counter;
    uint8_t hue_offset;
    uint8_t breath_intensity;
    bool breath_direction;
    uint8_t wave_position;
    uint8_t fire_heat[NUM_PIXELS];
} anim_state = {0};

/* Color utility functions */
void hsv_to_rgb(uint8_t h, uint8_t s, uint8_t v, struct led_rgb *rgb)
{
    uint8_t region, remainder, p, q, t;

    if (s == 0) {
        rgb->r = v;
        rgb->g = v;
        rgb->b = v;
        return;
    }

    region = h / 43;
    remainder = (h - (region * 43)) * 6;

    p = (v * (255 - s)) >> 8;
    q = (v * (255 - ((s * remainder) >> 8))) >> 8;
    t = (v * (255 - ((s * (255 - remainder)) >> 8))) >> 8;

    switch (region) {
        case 0:
            rgb->r = v; rgb->g = t; rgb->b = p;
            break;
        case 1:
            rgb->r = q; rgb->g = v; rgb->b = p;
            break;
        case 2:
            rgb->r = p; rgb->g = v; rgb->b = t;
            break;
        case 3:
            rgb->r = p; rgb->g = q; rgb->b = v;
            break;
        case 4:
            rgb->r = t; rgb->g = p; rgb->b = v;
            break;
        default:
            rgb->r = v; rgb->g = p; rgb->b = q;
            break;
    }
}

uint8_t scale8(uint8_t value, uint8_t scale)
{
    return ((uint16_t)value * scale) >> 8;
}

/* Animation Effects */

void effect_static_color(void)
{
    /* Static color - no animation needed, just maintain current state */
}

void effect_rainbow_cycle(void)
{
    for (int i = 0; i < NUM_PIXELS; i++) {
        uint8_t hue = anim_state.hue_offset + (i * 255 / NUM_PIXELS);
        struct led_rgb color;
        hsv_to_rgb(hue, 255, device_state.brightness, &color);
        device_state.pixels[i] = color;
    }
    
    anim_state.hue_offset += 2;
}

void effect_breathing(void)
{
    static const struct led_rgb base_color = {255, 255, 255}; // White base
    
    if (anim_state.breath_direction) {
        anim_state.breath_intensity += 3;
        if (anim_state.breath_intensity >= 255) {
            anim_state.breath_direction = false;
        }
    } else {
        anim_state.breath_intensity -= 3;
        if (anim_state.breath_intensity <= 20) {
            anim_state.breath_direction = true;
        }
    }
    
    for (int i = 0; i < NUM_PIXELS; i++) {
        device_state.pixels[i].r = scale8(base_color.r, anim_state.breath_intensity);
        device_state.pixels[i].g = scale8(base_color.g, anim_state.breath_intensity);
        device_state.pixels[i].b = scale8(base_color.b, anim_state.breath_intensity);
    }
}

void effect_color_wipe(void)
{
    static const struct led_rgb colors[] = {
        {255, 0, 0},   // Red
        {0, 255, 0},   // Green
        {0, 0, 255},   // Blue
        {255, 255, 0}, // Yellow
        {255, 0, 255}, // Magenta
        {0, 255, 255}, // Cyan
    };
    
    int color_index = (anim_state.frame_counter / (NUM_PIXELS + 10)) % ARRAY_SIZE(colors);
    int position = anim_state.frame_counter % (NUM_PIXELS + 10);
    
    // Clear all pixels first
    memset(device_state.pixels, 0, sizeof(device_state.pixels));
    
    // Fill pixels up to current position
    for (int i = 0; i < position && i < NUM_PIXELS; i++) {
        device_state.pixels[i] = colors[color_index];
        device_state.pixels[i].r = scale8(device_state.pixels[i].r, device_state.brightness);
        device_state.pixels[i].g = scale8(device_state.pixels[i].g, device_state.brightness);
        device_state.pixels[i].b = scale8(device_state.pixels[i].b, device_state.brightness);
    }
    
    anim_state.frame_counter++;
}

void effect_rainbow_wave(void)
{
    for (int i = 0; i < NUM_PIXELS; i++) {
        uint8_t hue = (anim_state.wave_position + i * 20) % 255;
        struct led_rgb color;
        hsv_to_rgb(hue, 255, device_state.brightness, &color);
        device_state.pixels[i] = color;
    }
    
    anim_state.wave_position += 5;
}

void effect_fire(void)
{
    // Cool down every pixel a little
    for (int i = 0; i < NUM_PIXELS; i++) {
        uint8_t cooldown = sys_rand32_get() % 15;  // Random cooling
        if (cooldown > anim_state.fire_heat[i]) {
            anim_state.fire_heat[i] = 0;
        } else {
            anim_state.fire_heat[i] -= cooldown;
        }
    }
    
    // Heat from each pixel drifts 'up' and diffuses
    for (int i = NUM_PIXELS - 1; i >= 2; i--) {
        anim_state.fire_heat[i] = (anim_state.fire_heat[i - 1] + 
                                   anim_state.fire_heat[i - 2] + 
                                   anim_state.fire_heat[i - 2]) / 3;
    }
    
    // Randomly ignite new 'sparks' at the bottom
    if (sys_rand32_get() % 10 < 6) {  // 60% chance
        int pos = sys_rand32_get() % 3;  // Bottom 3 pixels
        anim_state.fire_heat[pos] = MIN(255, anim_state.fire_heat[pos] + sys_rand32_get() % 95 + 160);
    }
    
    // Convert heat to LED colors
    for (int i = 0; i < NUM_PIXELS; i++) {
        uint8_t heat = anim_state.fire_heat[i];
        struct led_rgb color = {0, 0, 0};
        
        if (heat > 0) {
            // Heat ramp: black -> red -> yellow -> white
            if (heat < 85) {
                color.r = heat * 3;
            } else if (heat < 170) {
                color.r = 255;
                color.g = (heat - 85) * 3;
            } else {
                color.r = 255;
                color.g = 255;
                color.b = (heat - 170) * 3;
            }
        }
        
        device_state.pixels[i].r = scale8(color.r, device_state.brightness);
        device_state.pixels[i].g = scale8(color.g, device_state.brightness);
        device_state.pixels[i].b = scale8(color.b, device_state.brightness);
    }
}

void effect_twinkle(void)
{
    // Fade all pixels slightly
    for (int i = 0; i < NUM_PIXELS; i++) {
        device_state.pixels[i].r = scale8(device_state.pixels[i].r, 250);
        device_state.pixels[i].g = scale8(device_state.pixels[i].g, 250);
        device_state.pixels[i].b = scale8(device_state.pixels[i].b, 250);
    }
    
    // Randomly light up pixels
    if (sys_rand32_get() % 4 == 0) {  // 25% chance each frame
        int pixel = sys_rand32_get() % NUM_PIXELS;
        uint8_t hue = sys_rand32_get() % 255;
        struct led_rgb color;
        hsv_to_rgb(hue, 200, device_state.brightness, &color);
        device_state.pixels[pixel] = color;
    }
}

void effect_chase(void)
{
    static const struct led_rgb chase_color = {255, 100, 0}; // Orange
    int position = anim_state.frame_counter % (NUM_PIXELS * 2);
    
    // Clear all pixels
    memset(device_state.pixels, 0, sizeof(device_state.pixels));
    
    // Set chase pixels (3 pixels wide)
    for (int i = 0; i < 3; i++) {
        int pixel_pos = (position + i) % NUM_PIXELS;
        if (pixel_pos < NUM_PIXELS) {
            device_state.pixels[pixel_pos].r = scale8(chase_color.r, device_state.brightness);
            device_state.pixels[pixel_pos].g = scale8(chase_color.g, device_state.brightness);
            device_state.pixels[pixel_pos].b = scale8(chase_color.b, device_state.brightness);
        }
    }
    
    anim_state.frame_counter++;
}

void effect_pulse_colors(void)
{
    static const struct led_rgb colors[] = {
        {255, 0, 0},   // Red
        {0, 255, 0},   // Green
        {0, 0, 255},   // Blue
    };
    
    int color_index = (anim_state.frame_counter / 60) % ARRAY_SIZE(colors);
    uint8_t pulse = (uint8_t)(128 + 127 * sin(anim_state.frame_counter * 0.1));
    
    for (int i = 0; i < NUM_PIXELS; i++) {
        device_state.pixels[i].r = scale8(scale8(colors[color_index].r, pulse), device_state.brightness);
        device_state.pixels[i].g = scale8(scale8(colors[color_index].g, pulse), device_state.brightness);
        device_state.pixels[i].b = scale8(scale8(colors[color_index].b, pulse), device_state.brightness);
    }
    
    anim_state.frame_counter++;
}

/* Animation dispatcher */
void run_led_effect(uint8_t effect_type)
{
    if (!device_state.power_on) {
        memset(device_state.pixels, 0, sizeof(device_state.pixels));
        return;
    }
    
    switch (effect_type) {
        case EFFECT_STATIC:
            effect_static_color();
            break;
        case EFFECT_RAINBOW_CYCLE:
            effect_rainbow_cycle();
            break;
        case EFFECT_BREATHING:
            effect_breathing();
            break;
        case EFFECT_COLOR_WIPE:
            effect_color_wipe();
            break;
        case EFFECT_RAINBOW_WAVE:
            effect_rainbow_wave();
            break;
        case EFFECT_FIRE:
            effect_fire();
            break;
        case EFFECT_TWINKLE:
            effect_twinkle();
            break;
        case EFFECT_CHASE:
            effect_chase();
            break;
        case EFFECT_PULSE_COLORS:
            effect_pulse_colors();
            break;
        default:
            effect_static_color();
            break;
    }
}

/* Reset animation state */
void reset_animation_state(void)
{
    memset(&anim_state, 0, sizeof(anim_state));
    anim_state.breath_direction = true;
}
```
